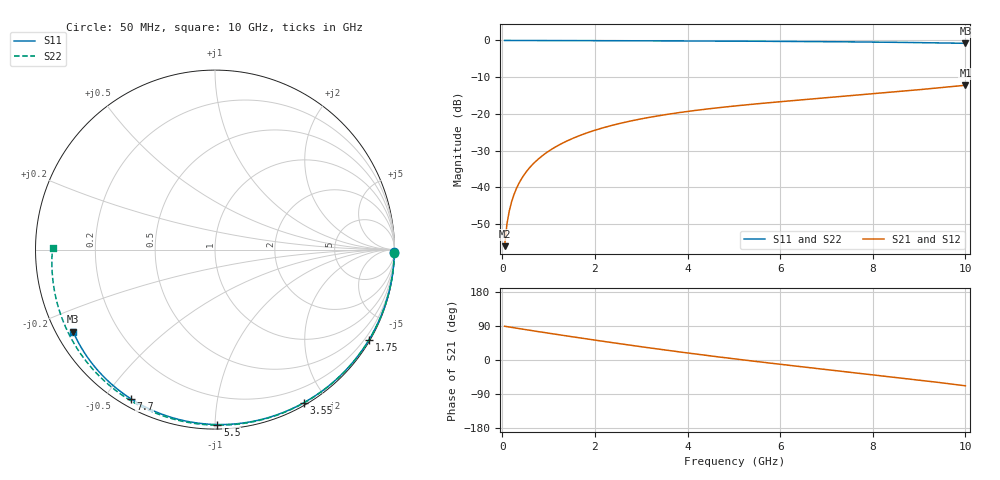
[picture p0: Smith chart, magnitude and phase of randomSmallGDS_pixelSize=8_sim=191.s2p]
! freq	dB(S11)	phase(S11)	dB(S12)	phase(S12)
!  dB(S21)	phase(S21)	dB(S22)	phase(S22)
!S-par simulation data
#  GHz  S  DB  R 50
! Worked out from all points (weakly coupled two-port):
!   200 points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, 50 MHz to 10 GHz, reference 50 ohm
!   highest |S21| = -12.20 dB at 10 GHz (marker M1); lowest = -56.0 dB at 50 MHz (marker M2)
!   lowest |S11| = -0.8 dB at 10 GHz (marker M3), VSWR 22.09, Z = 2.43 - j13.4 ohm
!   |S11| at or under -10 dB: nowhere
!   |S22| runs from -0.9 to 0.0 dB; largest |S21 - S12| = 0
!   S11 on the Smith chart (normalised r, x): 50 MHz: open; 1.75 GHz: 0.04, -3.68; 3.55 GHz: 0.03, -1.73; 5.5 GHz: 0.03, -1.01; 7.7 GHz: 0.03, -0.58; 10 GHz: 0.05, -0.27
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0.05  -0.01 -0.9  -56.02 89.0  -56.02 89.0  -0.01 -1.0
0.1  -0.01 -1.8  -50.00 88.0  -50.00 88.0  -0.01 -2.1
0.15  -0.01 -2.6  -46.48 87.0  -46.48 87.0  -0.01 -3.1
0.2  -0.01 -3.5  -43.98 86.0  -43.98 86.0  -0.01 -4.1
0.25  -0.01 -4.4  -42.05 85.1  -42.05 85.1  -0.01 -5.1
0.35  -0.01 -6.2  -39.14 83.1  -39.14 83.1  -0.01 -7.2
0.5  -0.01 -8.8  -36.07 80.2  -36.07 80.2  -0.01 -10.2
0.7  -0.02 -12.3  -33.19 76.4  -33.19 76.4  -0.02 -14.3
1  -0.03 -17.5  -30.16 70.7  -30.16 70.7  -0.03 -20.4
1.35  -0.04 -23.6  -27.65 64.3  -27.65 64.3  -0.04 -27.4
1.75  -0.05 -30.4  -25.52 57.0  -25.52 57.0  -0.06 -35.3
2.6  -0.08 -44.6  -22.41 41.9  -22.41 41.9  -0.09 -51.7
3.4  -0.11 -57.5  -20.45 28.3  -20.45 28.3  -0.12 -66.7
3.55  -0.12 -59.9  -20.15 25.8  -20.15 25.8  -0.13 -69.4
4.3  -0.15 -71.5  -18.85 13.9  -18.85 13.9  -0.17 -82.8
5.05  -0.19 -82.7  -17.81 2.4  -17.81 2.4  -0.21 -95.8
5.5  -0.22 -89.3  -17.26 -4.2  -17.26 -4.2  -0.24 -103.5
6.7  -0.31 -106.1  -15.93 -21.1  -15.93 -21.1  -0.34 -123.4
7.7  -0.41 -119.5  -14.87 -34.8  -14.87 -34.8  -0.45 -139.9
8.35  -0.49 -128.2  -14.16 -43.8  -14.16 -43.8  -0.54 -150.8
9.2  -0.62 -139.3  -13.18 -55.9  -13.18 -55.9  -0.69 -165.6
10  -0.79 -149.9  -12.20 -68.1  -12.20 -68.1  -0.86 179.6
